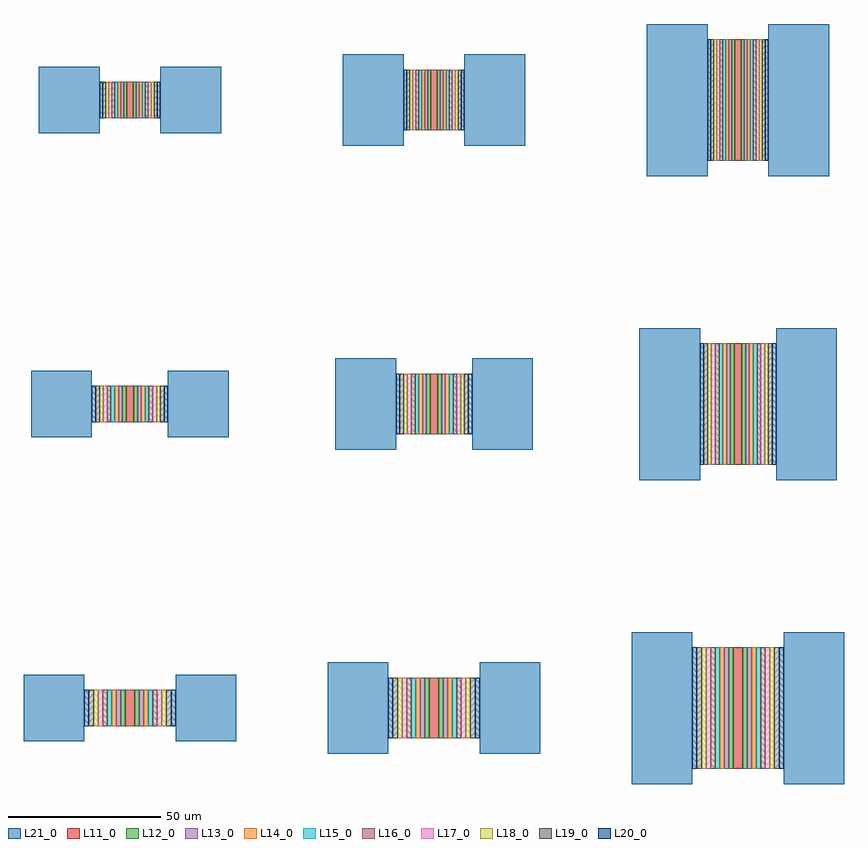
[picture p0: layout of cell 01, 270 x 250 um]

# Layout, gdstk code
import gdstk
lib = gdstk.Library(unit=1e-6, precision=1e-09)
def R(c, l, rs):  # rectangles x0, y0, x1, y1
    for r in rs: c.add(gdstk.rectangle(r[:2], r[2:], *l))
L11_0 = (11, 0)
L12_0 = (12, 0)
L13_0 = (13, 0)
L14_0 = (14, 0)
L15_0 = (15, 0)
L16_0 = (16, 0)
L17_0 = (17, 0)
L18_0 = (18, 0)
L19_0 = (19, 0)
L20_0 = (20, 0)
L21_0 = (21, 0)

c_01 = lib.new_cell('01')
R(c_01, L11_0, [(198.5,-20,201.5,20), (98.5,-10,101.5,10), (-1.5,-6,1.5,6), (198.75,80,201.25,120), (98.75,90,101.25,110), (-1.25,94,1.25,106), (199,180,201,220), (99,190,101,210), (-1,194,1,206)])
R(c_01, L12_0, [(197,-20,198.5,20), (201.5,-20,203,20), (97,-10,98.5,10), (101.5,-10,103,10), (-3,-6,-1.5,6), (1.5,-6,3,6), (197.5,80,198.75,120), (201.25,80,202.5,120), (97.5,90,98.75,110), (101.25,90,102.5,110), (-2.5,94,-1.25,106), (1.25,94,2.5,106), (198,180,199,220), (201,180,202,220), (98,190,99,210), (101,190,102,210), (-2,194,-1,206), (1,194,2,206)])
R(c_01, L13_0, [(195.5,-20,197,20), (203,-20,204.5,20), (95.5,-10,97,10), (103,-10,104.5,10), (-4.5,-6,-3,6), (3,-6,4.5,6), (196.25,80,197.5,120), (202.5,80,203.75,120), (96.25,90,97.5,110), (102.5,90,103.75,110), (-3.75,94,-2.5,106), (2.5,94,3.75,106), (197,180,198,220), (202,180,203,220), (97,190,98,210), (102,190,103,210), (-3,194,-2,206), (2,194,3,206)])
R(c_01, L14_0, [(194,-20,195.5,20), (204.5,-20,206,20), (94,-10,95.5,10), (104.5,-10,106,10), (-6,-6,-4.5,6), (4.5,-6,6,6), (195,80,196.25,120), (203.75,80,205,120), (95,90,96.25,110), (103.75,90,105,110), (-5,94,-3.75,106), (3.75,94,5,106), (196,180,197,220), (203,180,204,220), (96,190,97,210), (103,190,104,210), (-4,194,-3,206), (3,194,4,206)])
R(c_01, L15_0, [(192.5,-20,194,20), (206,-20,207.5,20), (92.5,-10,94,10), (106,-10,107.5,10), (-7.5,-6,-6,6), (6,-6,7.5,6), (193.75,80,195,120), (205,80,206.25,120), (93.75,90,95,110), (105,90,106.25,110), (-6.25,94,-5,106), (5,94,6.25,106), (195,180,196,220), (204,180,205,220), (95,190,96,210), (104,190,105,210), (-5,194,-4,206), (4,194,5,206)])
R(c_01, L16_0, [(191,-20,192.5,20), (207.5,-20,209,20), (91,-10,92.5,10), (107.5,-10,109,10), (-9,-6,-7.5,6), (7.5,-6,9,6), (192.5,80,193.75,120), (206.25,80,207.5,120), (92.5,90,93.75,110), (106.25,90,107.5,110), (-7.5,94,-6.25,106), (6.25,94,7.5,106), (194,180,195,220), (205,180,206,220), (94,190,95,210), (105,190,106,210), (-6,194,-5,206), (5,194,6,206)])
R(c_01, L17_0, [(189.5,-20,191,20), (209,-20,210.5,20), (89.5,-10,91,10), (109,-10,110.5,10), (-10.5,-6,-9,6), (9,-6,10.5,6), (191.25,80,192.5,120), (207.5,80,208.75,120), (91.25,90,92.5,110), (107.5,90,108.75,110), (-8.75,94,-7.5,106), (7.5,94,8.75,106), (193,180,194,220), (206,180,207,220), (93,190,94,210), (106,190,107,210), (-7,194,-6,206), (6,194,7,206)])
R(c_01, L18_0, [(188,-20,189.5,20), (210.5,-20,212,20), (88,-10,89.5,10), (110.5,-10,112,10), (-12,-6,-10.5,6), (10.5,-6,12,6), (190,80,191.25,120), (208.75,80,210,120), (90,90,91.25,110), (108.75,90,110,110), (-10,94,-8.75,106), (8.75,94,10,106), (192,180,193,220), (207,180,208,220), (92,190,93,210), (107,190,108,210), (-8,194,-7,206), (7,194,8,206)])
R(c_01, L19_0, [(186.5,-20,188,20), (212,-20,213.5,20), (86.5,-10,88,10), (112,-10,113.5,10), (-13.5,-6,-12,6), (12,-6,13.5,6), (188.75,80,190,120), (210,80,211.25,120), (88.75,90,90,110), (110,90,111.25,110), (-11.25,94,-10,106), (10,94,11.25,106), (191,180,192,220), (208,180,209,220), (91,190,92,210), (108,190,109,210), (-9,194,-8,206), (8,194,9,206)])
R(c_01, L20_0, [(185,-20,186.5,20), (213.5,-20,215,20), (85,-10,86.5,10), (113.5,-10,115,10), (-15,-6,-13.5,6), (13.5,-6,15,6), (187.5,80,188.75,120), (211.25,80,212.5,120), (87.5,90,88.75,110), (111.25,90,112.5,110), (-12.5,94,-11.25,106), (11.25,94,12.5,106), (190,180,191,220), (209,180,210,220), (90,190,91,210), (109,190,110,210), (-10,194,-9,206), (9,194,10,206)])
R(c_01, L21_0, [(165,-25,185,25), (215,-25,235,25), (65,-15,85,15), (115,-15,135,15), (-35,-11,-15,11), (15,-11,35,11), (167.5,75,187.5,125), (212.5,75,232.5,125), (67.5,85,87.5,115), (112.5,85,132.5,115), (-32.5,89,-12.5,111), (12.5,89,32.5,111), (170,175,190,225), (210,175,230,225), (70,185,90,215), (110,185,130,215), (-30,189,-10,211), (10,189,30,211)])

lib.write_gds('01.gds')
